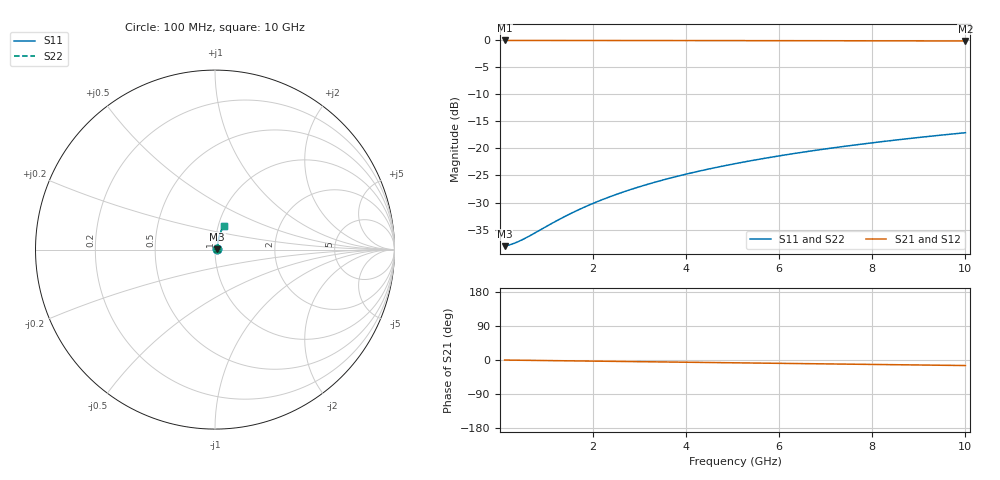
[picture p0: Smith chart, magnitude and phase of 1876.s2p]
# Hz S RI R 50.00
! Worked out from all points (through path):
!   100 points, 100 MHz to 10 GHz, reference 50 ohm
!   highest |S21| = -0.11 dB at 100 MHz (marker M1); lowest = -0.2 dB at 10 GHz (marker M2)
!   group delay of S21, straight-line fit = 4.06 ps
!   lowest |S11| = -38.0 dB at 100 MHz (marker M3), VSWR 1.03, Z = 51.3 + j0.142 ohm
!   |S11| at or under -10 dB: start of sweep to end of sweep
!   |S22| runs from -38.0 to -17.1 dB; largest |S21 - S12| = 0
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1e8  0.0125 0.00138  0.9875 -0.00253  0.9875 -0.00253  0.0125 0.00138
2e8  0.0125 0.00276  0.9874 -0.00506  0.9874 -0.00506  0.0125 0.00276
3e8  0.0126 0.00414  0.9874 -0.0076  0.9874 -0.0076  0.0126 0.00414
5e8  0.0128 0.0069  0.9872 -0.0127  0.9872 -0.0127  0.0128 0.0069
7e8  0.0129 0.00965  0.987 -0.0177  0.987 -0.0177  0.0129 0.00965
1.3e9  0.0135 0.0179  0.9864 -0.0329  0.9864 -0.0329  0.0135 0.0179
1.5e9  0.0137 0.0207  0.9861 -0.0379  0.9861 -0.0379  0.0137 0.0207
1.8e9  0.0141 0.0248  0.9856 -0.0455  0.9856 -0.0455  0.0141 0.0248
2.1e9  0.0146 0.0289  0.9851 -0.0531  0.9851 -0.0531  0.0146 0.0289
2.5e9  0.0153 0.0343  0.9843 -0.0631  0.9843 -0.0631  0.0153 0.0343
2.9e9  0.0161 0.0398  0.9833 -0.0732  0.9833 -0.0732  0.0161 0.0398
3.4e9  0.0173 0.0466  0.9819 -0.0857  0.9819 -0.0857  0.0173 0.0466
3.8e9  0.0183 0.052  0.9807 -0.0957  0.9807 -0.0957  0.0183 0.052
4.2e9  0.0195 0.0573  0.9793 -0.1057  0.9793 -0.1057  0.0195 0.0573
4.6e9  0.0208 0.0627  0.9778 -0.1157  0.9778 -0.1157  0.0208 0.0627
5.1e9  0.0225 0.0693  0.9757 -0.1281  0.9757 -0.1281  0.0225 0.0693
5.9e9  0.0256 0.0798  0.972 -0.1478  0.972 -0.1478  0.0256 0.0798
6.7e9  0.0292 0.0902  0.9677 -0.1674  0.9677 -0.1674  0.0292 0.0902
7.5e9  0.0331 0.1003  0.963 -0.1868  0.963 -0.1868  0.0331 0.1003
8.4e9  0.0381 0.1115  0.9571 -0.2084  0.9571 -0.2084  0.0381 0.1115
9.2e9  0.0429 0.1213  0.9514 -0.2274  0.9514 -0.2274  0.0429 0.1213
1e10  0.048 0.1308  0.9452 -0.2462  0.9452 -0.2462  0.048 0.1308
